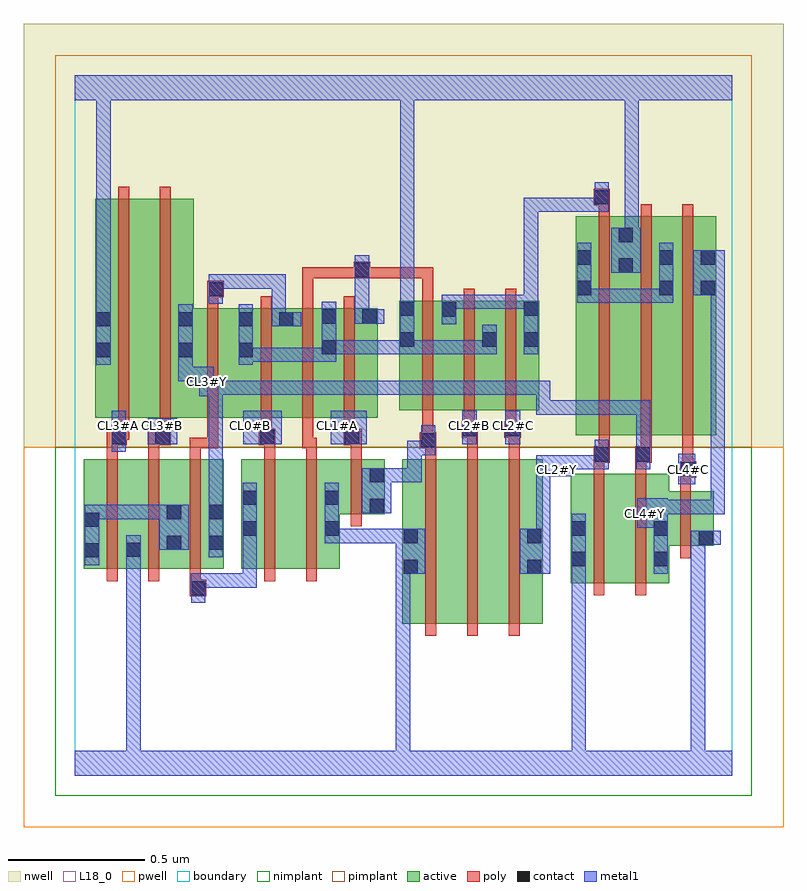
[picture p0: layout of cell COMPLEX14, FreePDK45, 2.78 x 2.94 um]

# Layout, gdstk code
import gdstk
lib = gdstk.Library(unit=1e-6, precision=1e-09)
def R(c, l, rs):  # rectangles x0, y0, x1, y1
    for r in rs: c.add(gdstk.rectangle(r[:2], r[2:], *l))
def A(c, l, x, y, w, h, nx, ny, dx, dy):  # array of equal rectangles
    R(c, l, [(x+i*dx, y+j*dy, x+i*dx+w, y+j*dy+h) for i in range(nx) for j in range(ny)])
active = (1, 0)
pwell = (2, 0)
nwell = (3, 0)
nimplant = (4, 0)
pimplant = (5, 0)
poly = (9, 0)
contact = (10, 0)
metal1 = (11, 0)
L18_0 = (18, 0)
boundary = (235, 0)

complex14 = lib.new_cell('COMPLEX14')
R(complex14, active, [(1.196,0.556,1.256,1.156), (1.196,0.556,1.376,1.156), (1.376,0.556,1.528,1.156), (1.528,0.556,1.708,1.156), (1.648,0.556,1.708,1.156), (1.81,0.704,1.99,1.104), (1.99,0.704,2.17,1.104), (0.032,0.756,0.092,1.156), (0.032,0.756,0.244,1.156), (0.184,0.756,0.244,1.156), (0.184,0.756,0.392,1.156), (0.332,0.756,0.544,1.156), (0.332,0.756,0.392,0.994), (0.484,0.756,0.544,1.156), (0.608,0.756,0.788,1.156), (0.608,0.756,0.668,1.156), (0.788,0.756,0.968,1.156), (0.908,0.756,0.968,1.156), (1.81,0.756,1.87,1.104), (2.11,0.762,2.17,1.028), (2.11,0.84,2.334,1.04), (2.274,0.84,2.334,1.04), (0.908,0.956,1.132,1.156), (1.072,0.956,1.132,1.156), (1.83,1.244,1.89,2.044), (1.83,1.244,2.042,2.044), (1.982,1.244,2.19,2.044), (2.13,1.244,2.19,2.044), (2.13,1.244,2.342,2.044), (2.282,1.244,2.342,2.044), (0.074,1.308,0.254,2.108), (0.074,1.308,0.134,2.044), (0.254,1.308,0.434,2.108), (0.374,1.308,0.654,1.708), (0.594,1.308,0.802,1.708), (0.742,1.308,0.958,1.708), (0.898,1.308,1.106,1.708), (1.046,1.308,1.106,1.708), (1.184,1.336,1.244,1.736), (1.184,1.336,1.396,1.736), (1.336,1.336,1.544,1.736), (1.484,1.336,1.696,1.736), (1.636,1.336,1.696,1.736), (1.982,1.46,2.042,2.044), (0.374,1.466,0.434,2.098), (0.594,1.526,0.654,1.708), (0.898,1.526,0.958,1.708), (1.484,1.526,1.544,1.736), (0.742,1.572,0.802,1.708), (1.336,1.572,1.396,1.736)])
R(complex14, pwell, [(-0.188,-0.188,2.588,1.2)])
R(complex14, nwell, [(-0.188,1.2,2.588,2.748)])
R(complex14, nimplant, [(-0.072,-0.072,2.472,1.2)])
R(complex14, pimplant, [(-0.072,1.2,2.472,2.632)])
A(complex14, poly, 1.28, 0.512, 0.04, 0.688, 3, 1, 0.152, 0)
A(complex14, poly, 0.116, 0.712, 0.04, 0.488, 3, 1, 0.152, 0)
A(complex14, poly, 1.914, 1.2, 0.04, 0.888, 3, 1, 0.152, 0)
A(complex14, poly, 0.678, 1.264, 0.04, 0.488, 3, 1, 0.152, 0)
A(complex14, poly, 1.268, 1.292, 0.04, 0.488, 3, 1, 0.152, 0)
R(complex14, poly, [(0.42,0.656,0.48,0.716), (1.894,0.66,1.934,1.148), (2.046,0.66,2.086,1.148), (0.42,0.676,0.46,0.752), (0.692,0.712,0.732,1.2), (0.844,0.712,0.884,1.2), (2.21,0.796,2.25,1.084), (1.008,0.912,1.048,1.2), (2.21,1.044,2.25,1.13), (2.21,1.09,2.25,1.13), (2.21,1.09,2.25,1.13), (2.21,1.09,2.27,1.15), (1.894,1.108,1.934,1.184), (2.046,1.108,2.086,1.184), (2.218,1.11,2.258,1.24), (1.894,1.144,1.954,1.204), (2.046,1.144,2.086,1.184), (2.046,1.144,2.086,1.184), (2.046,1.144,2.106,1.204), (0.116,1.16,0.156,1.248), (0.268,1.16,0.308,1.248), (0.42,1.16,0.46,1.236), (0.692,1.16,0.732,1.248), (0.844,1.16,0.884,1.236), (1.008,1.16,1.048,1.248), (1.28,1.16,1.32,1.236), (1.432,1.16,1.472,1.276), (1.584,1.16,1.624,1.276), (1.914,1.164,1.954,1.204), (1.914,1.164,1.954,1.204), (1.914,1.164,1.954,1.24), (2.066,1.164,2.106,1.24), (0.42,1.196,0.524,1.236), (0.484,1.196,0.524,1.236), (0.484,1.196,0.524,1.236), (0.484,1.196,0.524,1.304), (0.83,1.196,0.87,1.236), (0.83,1.196,0.87,1.236), (0.83,1.196,0.87,1.304), (0.83,1.196,0.884,1.236), (1.26,1.196,1.32,1.256), (0.116,1.208,0.19,1.268), (0.268,1.208,0.35,1.268), (0.672,1.208,0.732,1.268), (0.982,1.208,1.048,1.268), (1.268,1.216,1.308,1.256), (1.268,1.216,1.308,1.256), (1.268,1.216,1.308,1.332), (0.15,1.228,0.19,1.268), (0.15,1.228,0.198,1.268), (0.158,1.228,0.198,1.304), (0.31,1.228,0.35,1.268), (0.31,1.228,0.35,1.268), (0.31,1.228,0.35,1.304), (0.678,1.228,0.718,1.268), (0.678,1.228,0.718,1.268), (0.678,1.228,0.718,1.304), (0.982,1.228,1.022,1.268), (0.982,1.228,1.022,1.268), (0.982,1.228,1.022,1.304), (1.412,1.236,1.472,1.296), (1.568,1.236,1.628,1.296), (1.42,1.256,1.46,1.296), (1.42,1.256,1.46,1.296), (1.42,1.256,1.46,1.332), (1.572,1.256,1.612,1.296), (1.572,1.256,1.612,1.296), (1.572,1.256,1.612,1.332), (0.158,1.264,0.198,2.152), (0.31,1.264,0.35,2.152), (0.484,1.264,0.524,1.752), (0.484,1.712,0.524,1.788), (0.83,1.712,0.87,1.858), (1.268,1.74,1.308,1.858), (0.484,1.748,0.544,1.808), (0.83,1.818,0.87,1.858), (0.83,1.818,0.87,1.858), (0.83,1.818,0.87,1.858), (0.83,1.818,1.058,1.858), (1.018,1.818,1.078,1.878), (1.038,1.818,1.078,1.858), (1.038,1.818,1.078,1.858), (1.038,1.818,1.308,1.858), (1.268,1.818,1.308,1.858), (1.268,1.818,1.308,1.858), (1.268,1.818,1.308,1.858), (1.914,2.048,1.954,2.124), (1.894,2.084,1.954,2.144)])
R(complex14, contact, [(0.424,0.66,0.476,0.712), (1.2,0.738,1.252,0.79), (1.652,0.738,1.704,0.79), (1.814,0.766,1.866,0.818), (2.114,0.766,2.166,0.818), (0.036,0.798,0.088,0.85), (0.188,0.8,0.24,0.852), (0.336,0.826,0.388,0.878), (0.488,0.826,0.54,0.878), (2.278,0.844,2.33,0.896), (1.2,0.85,1.252,0.902), (1.652,0.85,1.704,0.902), (0.612,0.878,0.664,0.93), (0.912,0.878,0.964,0.93), (1.814,0.878,1.866,0.93), (2.114,0.878,2.166,0.93), (0.036,0.91,0.088,0.962), (0.336,0.938,0.388,0.99), (0.488,0.938,0.54,0.99), (1.076,0.96,1.128,1.012), (0.612,0.99,0.664,1.042), (0.912,0.99,0.964,1.042), (1.076,1.072,1.128,1.124), (2.214,1.094,2.266,1.146), (1.898,1.148,1.95,1.2), (2.05,1.148,2.102,1.2), (1.264,1.2,1.316,1.252), (0.134,1.212,0.186,1.264), (0.294,1.212,0.346,1.264), (0.676,1.212,0.728,1.264), (0.986,1.212,1.038,1.264), (1.416,1.24,1.468,1.292), (1.572,1.24,1.624,1.292), (0.078,1.53,0.13,1.582), (0.378,1.53,0.43,1.582), (0.598,1.53,0.65,1.582), (0.902,1.54,0.954,1.592), (1.188,1.568,1.24,1.62), (1.488,1.568,1.54,1.62), (1.64,1.568,1.692,1.62), (0.078,1.642,0.13,1.694), (0.378,1.642,0.43,1.694), (0.598,1.642,0.65,1.694), (0.746,1.642,0.798,1.694), (0.902,1.652,0.954,1.704), (1.05,1.652,1.102,1.704), (1.34,1.678,1.392,1.73), (1.188,1.68,1.24,1.732), (1.64,1.68,1.692,1.732), (0.488,1.752,0.54,1.804), (1.834,1.756,1.886,1.808), (2.134,1.756,2.186,1.808), (2.286,1.756,2.338,1.808), (1.022,1.822,1.074,1.874), (1.986,1.838,2.038,1.89), (1.834,1.868,1.886,1.92), (2.134,1.868,2.186,1.92), (2.286,1.868,2.338,1.92), (1.986,1.95,2.038,2.002), (1.898,2.088,1.95,2.14)])
R(complex14, metal1, [(0,0,2.4,0.092), (0.188,0.04,0.24,0.092), (0.188,0.04,0.24,0.092), (0.188,0.04,0.24,0.092), (0.188,0.04,0.24,0.092), (0.188,0.04,0.24,0.092), (0.188,0.04,0.24,0.092), (0.188,0.04,0.24,0.092), (0.188,0.04,0.24,0.092), (0.188,0.04,0.24,0.092), (0.188,0.04,0.24,0.092), (0.188,0.04,0.24,0.092), (0.188,0.04,0.24,0.092), (0.188,0.04,0.24,0.824), (1.172,0.04,1.224,0.092), (1.172,0.04,1.224,0.092), (1.172,0.04,1.224,0.092), (1.172,0.04,1.224,0.092), (1.172,0.04,1.224,0.092), (1.172,0.04,1.224,0.092), (1.172,0.04,1.224,0.092), (1.172,0.04,1.224,0.092), (1.172,0.04,1.224,0.79), (1.814,0.04,1.866,0.092), (1.814,0.04,1.866,0.092), (1.814,0.04,1.866,0.092), (1.814,0.04,1.866,0.092), (1.814,0.04,1.866,0.73), (2.25,0.04,2.302,0.092), (2.25,0.04,2.302,0.092), (2.25,0.04,2.302,0.896), (0.424,0.632,0.476,0.74), (1.814,0.678,1.866,0.73), (1.814,0.678,1.866,0.73), (1.814,0.678,1.866,0.73), (1.814,0.678,1.866,0.73), (1.814,0.678,1.866,0.73), (1.814,0.678,1.866,0.73), (1.814,0.678,1.866,0.73), (1.814,0.678,1.866,0.79), (0.424,0.688,0.54,0.74), (0.488,0.688,0.54,0.74), (0.488,0.688,0.664,0.74), (0.612,0.688,0.664,0.74), (0.612,0.688,0.664,0.902), (1.172,0.738,1.28,0.902), (1.624,0.738,1.736,0.902), (1.814,0.738,1.866,0.958), (2.114,0.738,2.166,0.958), (0.036,0.77,0.088,0.99), (0.188,0.772,0.24,0.88), (0.488,0.798,0.54,1.018), (0.308,0.826,0.416,0.99), (2.25,0.844,2.302,0.896), (2.25,0.844,2.302,0.896), (2.25,0.844,2.302,0.896), (2.25,0.844,2.302,0.896), (2.25,0.844,2.302,0.896), (2.25,0.844,2.302,0.896), (2.25,0.844,2.302,0.896), (2.25,0.844,2.302,0.896), (2.25,0.844,2.302,0.896), (2.25,0.844,2.302,0.896), (2.25,0.844,2.302,0.896), (2.25,0.844,2.302,0.896), (2.25,0.844,2.302,0.896), (2.25,0.844,2.302,0.896), (2.25,0.844,2.358,0.896), (0.612,0.85,0.664,1.07), (0.912,0.85,0.964,1.07), (0.912,0.85,1.114,0.902), (1.062,0.85,1.114,0.902), (1.062,0.85,1.114,0.902), (1.062,0.85,1.114,0.902), (1.062,0.85,1.114,0.902), (1.062,0.85,1.114,0.902), (1.062,0.85,1.114,0.902), (1.062,0.85,1.114,0.902), (1.062,0.85,1.224,0.902), (1.684,0.85,1.736,1.146), (2.054,0.906,2.166,1.014), (2.114,0.906,2.166,0.958), (0.036,0.938,0.088,0.99), (0.036,0.938,0.088,0.99), (0.036,0.938,0.25,0.99), (0.198,0.938,0.25,0.99), (0.198,0.938,0.25,0.99), (0.198,0.938,0.25,0.99), (0.198,0.938,0.36,0.99), (2.114,0.956,2.374,1.008), (2.322,0.956,2.374,1.808), (2.322,0.956,2.374,1.008), (2.322,0.956,2.374,1.008), (2.322,0.956,2.374,1.008), (2.322,0.956,2.374,1.008), (2.322,0.956,2.374,1.008), (1.048,0.96,1.156,1.124), (0.488,0.966,0.54,1.444), (2.204,1.066,2.266,1.176), (1.104,1.072,1.266,1.124), (1.214,1.072,1.266,1.124), (1.214,1.072,1.266,1.224), (1.684,1.094,1.814,1.172), (1.762,1.12,1.814,1.172), (1.762,1.12,1.814,1.172), (1.762,1.12,1.95,1.172), (1.898,1.12,1.95,1.228), (2.05,1.12,2.102,1.372), (1.214,1.172,1.266,1.224), (1.214,1.172,1.316,1.224), (1.264,1.172,1.316,1.28), (0.134,1.184,0.186,1.334), (0.266,1.212,0.374,1.306), (0.614,1.212,0.756,1.334), (0.934,1.212,1.066,1.334), (1.414,1.212,1.468,1.334), (1.572,1.212,1.626,1.334), (1.684,1.32,1.736,1.372), (1.684,1.32,1.736,1.372), (1.684,1.32,1.992,1.372), (1.684,1.32,1.736,1.444), (1.94,1.32,1.992,1.372), (1.94,1.32,1.996,1.372), (1.944,1.32,1.996,1.372), (1.944,1.32,2.102,1.372), (0.454,1.386,0.506,1.494), (0.454,1.392,0.54,1.444), (0.488,1.392,0.54,1.444), (0.488,1.392,0.54,1.444), (0.488,1.392,0.54,1.444), (0.488,1.392,0.65,1.444), (0.598,1.392,0.65,1.444), (0.598,1.392,0.766,1.444), (0.714,1.392,0.766,1.444), (0.714,1.392,0.766,1.444), (0.714,1.392,0.766,1.444), (0.714,1.392,0.876,1.444), (0.824,1.392,0.876,1.444), (0.824,1.392,0.876,1.444), (0.824,1.392,0.876,1.444), (0.824,1.392,1.114,1.444), (1.062,1.392,1.114,1.444), (1.062,1.392,1.114,1.444), (1.062,1.392,1.114,1.444), (1.062,1.392,1.266,1.444), (1.214,1.392,1.266,1.444), (1.214,1.392,1.266,1.444), (1.214,1.392,1.266,1.444), (1.214,1.392,1.376,1.444), (1.324,1.392,1.376,1.444), (1.324,1.392,1.376,1.444), (1.324,1.392,1.376,1.444), (1.324,1.392,1.502,1.444), (1.45,1.392,1.502,1.444), (1.45,1.392,1.502,1.444), (1.45,1.392,1.502,1.444), (1.45,1.392,1.736,1.444), (0.378,1.442,0.43,1.494), (0.378,1.442,0.43,1.554), (0.378,1.442,0.506,1.494), (0.078,1.502,0.13,1.722), (0.378,1.502,0.43,1.722), (0.598,1.502,0.65,1.722), (0.598,1.512,0.766,1.564), (0.714,1.512,0.766,1.564), (0.714,1.512,0.766,1.564), (0.714,1.512,0.766,1.564), (0.714,1.512,0.876,1.564), (0.824,1.512,0.876,1.564), (0.824,1.512,0.954,1.564), (0.902,1.512,0.954,1.732), (0.902,1.54,1.074,1.592), (1.022,1.54,1.074,1.592), (1.022,1.54,1.074,1.592), (1.022,1.54,1.074,1.592), (1.022,1.54,1.24,1.592), (1.188,1.54,1.24,1.592), (1.188,1.54,1.24,1.592), (1.188,1.54,1.24,1.592), (1.188,1.54,1.24,1.592), (1.188,1.54,1.24,1.592), (1.188,1.54,1.24,1.592), (1.188,1.54,1.24,1.76), (1.188,1.54,1.266,1.592), (1.214,1.54,1.266,1.592), (1.214,1.54,1.376,1.592), (1.324,1.54,1.376,1.592), (1.324,1.54,1.376,1.592), (1.324,1.54,1.376,1.592), (1.324,1.54,1.54,1.592), (1.488,1.54,1.54,1.648), (1.64,1.54,1.692,1.76), (0.718,1.642,0.826,1.694), (0.718,1.642,0.77,1.832), (1.34,1.65,1.392,1.758), (1.022,1.652,1.13,1.704), (1.022,1.652,1.074,1.846), (0.078,1.67,0.13,1.722), (0.078,1.67,0.13,1.722), (0.078,1.67,0.13,2.52), (1.34,1.706,1.392,1.758), (1.34,1.706,1.392,1.758), (1.34,1.706,1.566,1.758), (1.514,1.706,1.566,1.758), (1.514,1.706,1.566,1.758), (1.514,1.706,1.566,1.758), (1.514,1.706,1.692,1.758), (1.188,1.708,1.24,2.52), (1.64,1.708,1.692,2.112), (0.488,1.724,0.54,1.832), (1.834,1.728,1.886,1.948), (1.834,1.728,1.992,1.78), (1.94,1.728,1.992,1.78), (1.94,1.728,1.996,1.78), (1.944,1.728,1.996,1.78), (1.944,1.728,2.146,1.78), (2.094,1.728,2.146,1.78), (2.094,1.728,2.186,1.78), (2.134,1.728,2.186,1.948), (2.258,1.756,2.374,1.92), (0.488,1.78,0.556,1.832), (0.504,1.78,0.556,1.832), (0.504,1.78,0.656,1.832), (0.604,1.78,0.656,1.832), (0.604,1.78,0.766,1.832), (0.714,1.78,0.766,1.832), (0.714,1.78,0.77,1.832), (0.718,1.78,0.77,1.832), (1.022,1.794,1.074,1.846), (1.022,1.794,1.074,1.846), (1.022,1.794,1.074,1.902), (1.958,1.838,2.066,2.002), (2.008,1.95,2.06,2.002), (2.008,1.95,2.06,2.002), (2.008,1.95,2.06,2.002), (2.008,1.95,2.06,2.002), (2.008,1.95,2.06,2.002), (2.008,1.95,2.06,2.002), (2.008,1.95,2.06,2.002), (2.008,1.95,2.06,2.002), (2.008,1.95,2.06,2.52), (1.64,2.06,1.692,2.112), (1.64,2.06,1.692,2.112), (1.64,2.06,1.692,2.112), (1.64,2.06,1.692,2.112), (1.64,2.06,1.692,2.112), (1.64,2.06,1.692,2.112), (1.64,2.06,1.692,2.112), (1.64,2.06,1.692,2.112), (1.64,2.06,1.692,2.112), (1.64,2.06,1.736,2.112), (1.684,2.06,1.736,2.112), (1.684,2.06,1.95,2.112), (1.898,2.06,1.95,2.168), (0,2.468,2.4,2.56), (0.078,2.468,0.13,2.52), (0.078,2.468,0.13,2.52), (0.078,2.468,0.13,2.52), (0.078,2.468,0.13,2.52), (0.078,2.468,0.13,2.52), (0.078,2.468,0.13,2.52), (1.188,2.468,1.24,2.52), (1.188,2.468,1.24,2.52), (1.188,2.468,1.24,2.52), (1.188,2.468,1.24,2.52), (1.188,2.468,1.24,2.52), (1.188,2.468,1.24,2.52), (1.188,2.468,1.24,2.52), (1.188,2.468,1.24,2.52), (1.188,2.468,1.24,2.52), (1.188,2.468,1.24,2.52), (1.188,2.468,1.24,2.52), (1.188,2.468,1.24,2.52), (1.188,2.468,1.24,2.52), (1.188,2.468,1.24,2.52), (1.188,2.468,1.24,2.52), (1.188,2.468,1.24,2.52)])
A(complex14, L18_0, 0.294, 1.254, 0.052, 0.052, 3, 1, 0.32, 0)
R(complex14, L18_0, [(0,0,2.4,0.092), (0.188,0.04,0.24,0.092), (0.188,0.04,0.24,0.092), (0.188,0.04,0.24,0.092), (0.188,0.04,0.24,0.092), (0.188,0.04,0.24,0.092), (0.188,0.04,0.24,0.092), (0.188,0.04,0.24,0.092), (0.188,0.04,0.24,0.092), (0.188,0.04,0.24,0.092), (0.188,0.04,0.24,0.092), (0.188,0.04,0.24,0.092), (0.188,0.04,0.24,0.092), (0.188,0.04,0.24,0.824), (1.172,0.04,1.224,0.092), (1.172,0.04,1.224,0.092), (1.172,0.04,1.224,0.092), (1.172,0.04,1.224,0.092), (1.172,0.04,1.224,0.092), (1.172,0.04,1.224,0.092), (1.172,0.04,1.224,0.092), (1.172,0.04,1.224,0.092), (1.172,0.04,1.224,0.79), (1.814,0.04,1.866,0.092), (1.814,0.04,1.866,0.092), (1.814,0.04,1.866,0.092), (1.814,0.04,1.866,0.092), (1.814,0.04,1.866,0.73), (2.25,0.04,2.302,0.092), (2.25,0.04,2.302,0.092), (2.25,0.04,2.302,0.896), (1.814,0.678,1.866,0.73), (1.814,0.678,1.866,0.73), (1.814,0.678,1.866,0.73), (1.814,0.678,1.866,0.73), (1.814,0.678,1.866,0.73), (1.814,0.678,1.866,0.73), (1.814,0.678,1.866,0.73), (1.814,0.678,1.866,0.79), (1.172,0.738,1.28,0.902), (1.624,0.738,1.736,0.902), (1.814,0.738,1.866,0.958), (2.114,0.738,2.166,0.958), (0.188,0.772,0.24,0.88), (0.488,0.798,0.54,1.018), (2.25,0.844,2.302,0.896), (2.25,0.844,2.302,0.896), (2.25,0.844,2.302,0.896), (2.25,0.844,2.302,0.896), (2.25,0.844,2.302,0.896), (2.25,0.844,2.302,0.896), (2.25,0.844,2.302,0.896), (2.25,0.844,2.302,0.896), (2.25,0.844,2.302,0.896), (2.25,0.844,2.302,0.896), (2.25,0.844,2.302,0.896), (2.25,0.844,2.302,0.896), (2.25,0.844,2.302,0.896), (2.25,0.844,2.302,0.896), (2.25,0.844,2.358,0.896), (0.912,0.85,0.964,1.07), (0.912,0.85,1.114,0.902), (1.062,0.85,1.114,0.902), (1.062,0.85,1.114,0.902), (1.062,0.85,1.114,0.902), (1.062,0.85,1.114,0.902), (1.062,0.85,1.114,0.902), (1.062,0.85,1.114,0.902), (1.062,0.85,1.114,0.902), (1.062,0.85,1.224,0.902), (1.684,0.85,1.736,1.146), (2.054,0.906,2.166,1.014), (2.114,0.906,2.166,0.958), (2.054,0.934,2.106,0.986), (2.114,0.956,2.374,1.008), (2.322,0.956,2.374,1.008), (2.322,0.956,2.374,1.008), (2.322,0.956,2.374,1.008), (2.322,0.956,2.374,1.008), (2.322,0.956,2.374,1.008), (2.322,0.956,2.374,1.808), (0.488,0.966,0.54,1.444), (2.204,1.066,2.266,1.176), (1.684,1.094,1.814,1.172), (1.734,1.094,1.786,1.146), (2.214,1.094,2.266,1.146), (1.762,1.12,1.814,1.172), (1.762,1.12,1.814,1.172), (1.762,1.12,1.95,1.172), (1.898,1.12,1.95,1.228), (2.05,1.12,2.102,1.372), (0.134,1.184,0.186,1.334), (0.266,1.212,0.374,1.306), (0.614,1.212,0.756,1.334), (0.934,1.212,1.066,1.334), (1.414,1.212,1.468,1.334), (1.572,1.212,1.626,1.334), (0.134,1.254,0.186,1.306), (1.414,1.254,1.466,1.306), (1.574,1.254,1.626,1.306), (1.684,1.32,1.736,1.372), (1.684,1.32,1.736,1.372), (1.684,1.32,1.736,1.444), (1.684,1.32,1.992,1.372), (1.94,1.32,1.992,1.372), (1.94,1.32,1.996,1.372), (1.944,1.32,1.996,1.372), (1.944,1.32,2.102,1.372), (0.454,1.386,0.506,1.494), (0.454,1.392,0.54,1.444), (0.488,1.392,0.54,1.444), (0.488,1.392,0.54,1.444), (0.488,1.392,0.54,1.444), (0.488,1.392,0.65,1.444), (0.598,1.392,0.65,1.444), (0.598,1.392,0.766,1.444), (0.714,1.392,0.766,1.444), (0.714,1.392,0.766,1.444), (0.714,1.392,0.766,1.444), (0.714,1.392,0.876,1.444), (0.824,1.392,0.876,1.444), (0.824,1.392,0.876,1.444), (0.824,1.392,0.876,1.444), (0.824,1.392,1.114,1.444), (1.062,1.392,1.114,1.444), (1.062,1.392,1.114,1.444), (1.062,1.392,1.114,1.444), (1.062,1.392,1.266,1.444), (1.214,1.392,1.266,1.444), (1.214,1.392,1.266,1.444), (1.214,1.392,1.266,1.444), (1.214,1.392,1.376,1.444), (1.324,1.392,1.376,1.444), (1.324,1.392,1.376,1.444), (1.324,1.392,1.376,1.444), (1.324,1.392,1.502,1.444), (1.45,1.392,1.502,1.444), (1.45,1.392,1.502,1.444), (1.45,1.392,1.502,1.444), (1.45,1.392,1.736,1.444), (0.454,1.414,0.506,1.466), (0.378,1.442,0.43,1.494), (0.378,1.442,0.43,1.554), (0.378,1.442,0.506,1.494), (0.078,1.502,0.13,1.722), (0.378,1.502,0.43,1.722), (0.598,1.502,0.65,1.722), (0.598,1.512,0.766,1.564), (0.714,1.512,0.766,1.564), (0.714,1.512,0.766,1.564), (0.714,1.512,0.766,1.564), (0.714,1.512,0.876,1.564), (0.824,1.512,0.876,1.564), (0.824,1.512,0.954,1.564), (0.902,1.512,0.954,1.732), (0.902,1.54,1.074,1.592), (1.022,1.54,1.074,1.592), (1.022,1.54,1.074,1.592), (1.022,1.54,1.074,1.592), (1.022,1.54,1.24,1.592), (1.188,1.54,1.24,1.76), (1.188,1.54,1.24,1.592), (1.188,1.54,1.24,1.592), (1.188,1.54,1.24,1.592), (1.188,1.54,1.24,1.592), (1.188,1.54,1.24,1.592), (1.188,1.54,1.24,1.592), (1.188,1.54,1.266,1.592), (1.214,1.54,1.266,1.592), (1.214,1.54,1.376,1.592), (1.324,1.54,1.376,1.592), (1.324,1.54,1.376,1.592), (1.324,1.54,1.376,1.592), (1.324,1.54,1.54,1.592), (1.488,1.54,1.54,1.648), (1.64,1.54,1.692,1.76), (1.34,1.65,1.392,1.758), (0.078,1.67,0.13,1.722), (0.078,1.67,0.13,1.722), (0.078,1.67,0.13,2.52), (1.34,1.706,1.392,1.758), (1.34,1.706,1.392,1.758), (1.34,1.706,1.566,1.758), (1.514,1.706,1.566,1.758), (1.514,1.706,1.566,1.758), (1.514,1.706,1.566,1.758), (1.514,1.706,1.692,1.758), (1.188,1.708,1.24,2.52), (1.64,1.708,1.692,2.112), (2.258,1.756,2.374,1.92), (1.958,1.838,2.066,2.002), (2.008,1.95,2.06,2.002), (2.008,1.95,2.06,2.002), (2.008,1.95,2.06,2.002), (2.008,1.95,2.06,2.002), (2.008,1.95,2.06,2.002), (2.008,1.95,2.06,2.002), (2.008,1.95,2.06,2.002), (2.008,1.95,2.06,2.002), (2.008,1.95,2.06,2.52), (1.64,2.06,1.692,2.112), (1.64,2.06,1.692,2.112), (1.64,2.06,1.692,2.112), (1.64,2.06,1.692,2.112), (1.64,2.06,1.692,2.112), (1.64,2.06,1.692,2.112), (1.64,2.06,1.692,2.112), (1.64,2.06,1.692,2.112), (1.64,2.06,1.692,2.112), (1.64,2.06,1.736,2.112), (1.684,2.06,1.736,2.112), (1.684,2.06,1.95,2.112), (1.898,2.06,1.95,2.168), (0,2.468,2.4,2.56), (0.078,2.468,0.13,2.52), (0.078,2.468,0.13,2.52), (0.078,2.468,0.13,2.52), (0.078,2.468,0.13,2.52), (0.078,2.468,0.13,2.52), (0.078,2.468,0.13,2.52), (1.188,2.468,1.24,2.52), (1.188,2.468,1.24,2.52), (1.188,2.468,1.24,2.52), (1.188,2.468,1.24,2.52), (1.188,2.468,1.24,2.52), (1.188,2.468,1.24,2.52), (1.188,2.468,1.24,2.52), (1.188,2.468,1.24,2.52), (1.188,2.468,1.24,2.52), (1.188,2.468,1.24,2.52), (1.188,2.468,1.24,2.52), (1.188,2.468,1.24,2.52), (1.188,2.468,1.24,2.52), (1.188,2.468,1.24,2.52), (1.188,2.468,1.24,2.52), (1.188,2.468,1.24,2.52)])
R(complex14, boundary, [(0,0,2.4,2.56)])
complex14.add(gdstk.Label('CL0#B', (0.64,1.28), layer=11, texttype=0))
complex14.add(gdstk.Label('CL1#A', (0.96,1.28), layer=11, texttype=0))
complex14.add(gdstk.Label('CL2#B', (1.44,1.28), layer=11, texttype=0))
complex14.add(gdstk.Label('CL2#C', (1.6,1.28), layer=11, texttype=0))
complex14.add(gdstk.Label('CL2#Y', (1.76,1.12), layer=11, texttype=0))
complex14.add(gdstk.Label('CL3#A', (0.16,1.28), layer=11, texttype=0))
complex14.add(gdstk.Label('CL3#B', (0.32,1.28), layer=11, texttype=0))
complex14.add(gdstk.Label('CL3#Y', (0.48,1.44), layer=11, texttype=0))
complex14.add(gdstk.Label('CL4#C', (2.24,1.12), layer=11, texttype=0))
complex14.add(gdstk.Label('CL4#Y', (2.08,0.96), layer=11, texttype=0))

lib.write_gds('COMPLEX14.gds')
